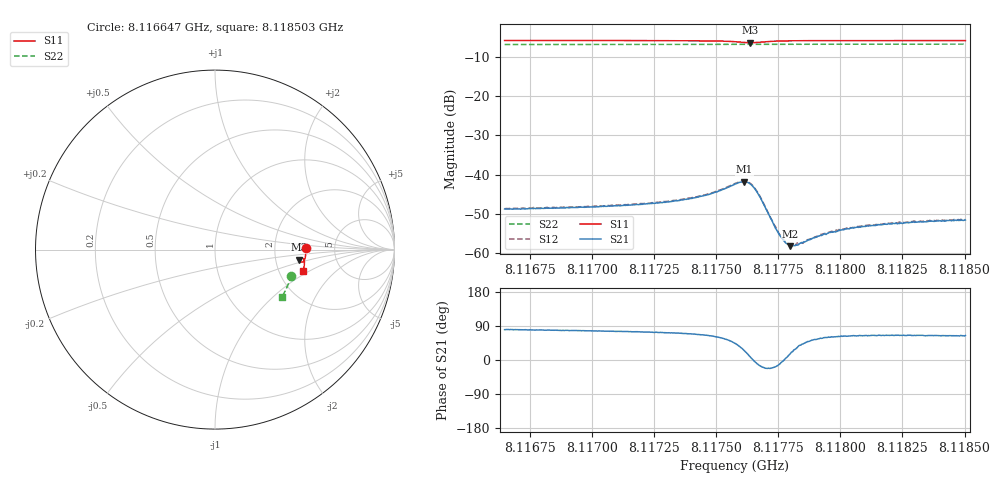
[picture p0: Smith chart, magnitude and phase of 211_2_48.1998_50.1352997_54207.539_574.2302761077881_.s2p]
#  HZ  S  RI  R  50.00
! Rohde & Schwarz Vector Network Analyzer
! Rohde-Schwarz,ZNB20-2Port,1311601062101988,3.16
! Created: UTC 3/20/2024, 11:45:32 AM
! freq[Hz]  re:S11  im:S11  re:S21  im:S21  re:S12  im:S12  re:S22  im:S22
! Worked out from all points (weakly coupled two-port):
!   401 points, 8.116647 GHz to 8.118503 GHz, reference 50 ohm
!   highest |S21| = -41.78 dB at 8.117612 GHz (marker M1); lowest = -58.1 dB at 8.117798 GHz (marker M2)
!   lowest |S11| = -6.5 dB at 8.117636 GHz (marker M3), VSWR 2.80, Z = 137 - j20.1 ohm
!   |S11| at or under -10 dB: nowhere
!   |S22| runs from -6.9 to -6.8 dB; largest |S21 - S12| = 0.0002
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8.1166471e9  0.5066 0.0101  0.000634 0.00362  0.000672 0.00364  0.4258 -0.1457
8.116958e9  0.506 -0.014  0.000857 0.00378  0.000894 0.00382  0.4191 -0.1663
8.1172689e9  0.5037 -0.0393  0.00133 0.00419  0.00137 0.00425  0.4115 -0.1866
8.1173803e9  0.5016 -0.0496  0.0017 0.00456  0.00178 0.00467  0.4083 -0.194
8.1174546e9  0.499 -0.0572  0.00225 0.00497  0.00236 0.00505  0.4063 -0.1986
8.1175103e9  0.4949 -0.0637  0.00313 0.00539  0.00324 0.00547  0.4045 -0.2024
8.1175752e9  0.4838 -0.0698  0.00545 0.00529  0.00561 0.00534  0.4021 -0.2064
8.1176124e9  0.4732 -0.0654  0.0074 0.00341  0.00755 0.00341  0.4005 -0.2082
8.1176356e9  0.4705 -0.0569  0.00759 0.00116  0.00776 0.0011  0.3999 -0.2092
8.1176541e9  0.4735 -0.05  0.00668 -0.000446  0.00676 -0.000515  0.3997 -0.21
8.1176727e9  0.4793 -0.0465  0.00524 -0.00131  0.00538 -0.0014  0.3994 -0.2111
8.1177377e9  0.494 -0.0521  0.00201 -0.000659  0.0021 -0.000689  0.3982 -0.2154
8.1177609e9  0.496 -0.0554  0.0016 -0.000194  0.00163 -0.000217  0.3975 -0.2169
8.1177794e9  0.4971 -0.0581  0.00135 0.000105  0.00141 9.66e-05  0.3969 -0.2182
8.117798e9  0.4979 -0.0607  0.00118 0.000358  0.00125 0.000364  0.3964 -0.2194
8.1178212e9  0.4983 -0.0636  0.0011 0.000643  0.00111 0.000661  0.3957 -0.221
8.1178398e9  0.4986 -0.0658  0.00106 0.00086  0.00107 0.000823  0.3952 -0.2222
8.1178862e9  0.4989 -0.0707  0.000945 0.00122  0.000975 0.00122  0.3936 -0.2252
8.1179279e9  0.4986 -0.0748  0.000922 0.00145  0.000941 0.00151  0.3923 -0.2276
8.1180208e9  0.4979 -0.0832  0.000929 0.00183  0.000979 0.00182  0.3893 -0.2335
8.1181971e9  0.4955 -0.0977  0.00101 0.00215  0.00105 0.00218  0.3831 -0.2444
8.1185034e9  0.4902 -0.121  0.00114 0.0024  0.0012 0.00241  0.3719 -0.2626
